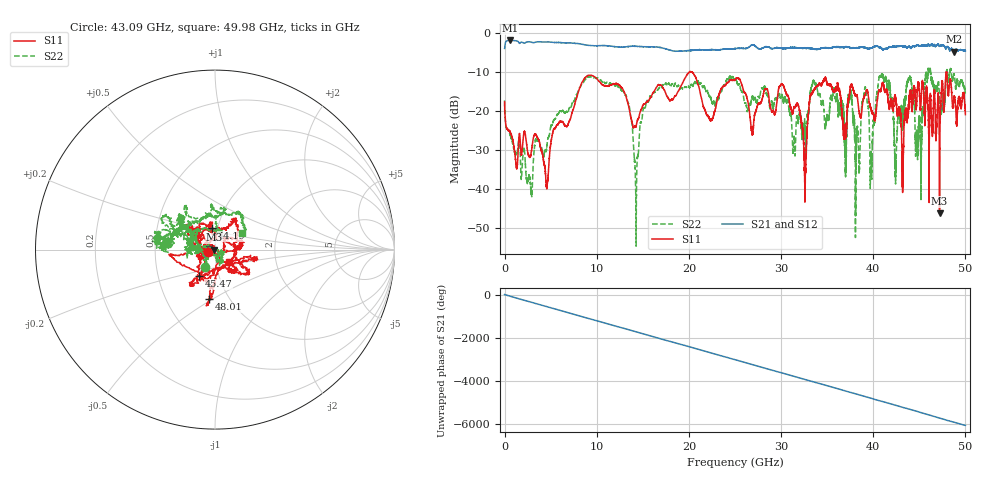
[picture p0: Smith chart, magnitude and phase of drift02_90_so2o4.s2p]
!Created with skrf (http://scikit-rf.org).
# Hz S RI R 50.0
!freq ReS11 ImS11 ReS21 ImS21 ReS12 ImS12 ReS22 ImS22
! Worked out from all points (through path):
!   10001 points, 300 kHz to 50 GHz, reference 50 ohm
!   highest |S21| = -1.99 dB at 565.3 MHz (marker M1); lowest = -4.8 dB at 48.77 GHz (marker M2)
!   group delay of S21, straight-line fit = 337 ps
!   lowest |S11| = -46.2 dB at 47.2 GHz (marker M3), VSWR 1.01, Z = 49.5 - j0.0244 ohm
!   |S11| at or under -10 dB: start of sweep to 20.07 GHz; 20.24 GHz to 47.95 GHz (27.71 GHz wide, 81.3 % of centre); 47.96 GHz to end of sweep (the widest 3 of 8)
!   |S22| runs from -54.6 to -9.1 dB; largest |S21 - S12| = 0.033
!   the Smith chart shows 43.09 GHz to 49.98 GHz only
!   S11 on the Smith chart (normalised r, x): 43.09 GHz: 0.93, -0.03; 44.19 GHz: 0.94, +0.23; 45.47 GHz: 0.81, -0.24; 48.01 GHz: 0.80, -0.48; 49.98 GHz: 1.15, -0.15
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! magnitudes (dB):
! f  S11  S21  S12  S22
! 300 kHz  -17.7  -4.0  -4.0  -17.3
! 565.3 MHz  -25.3  -2.0  -2.0  -25.9
! 4.565 GHz  -39.7  -2.4  -2.4  -29.5
! 8.335 GHz  -13.0  -2.9  -2.9  -13.2
! 13.01 GHz  -15.3  -3.6  -3.6  -15.8
! 14.28 GHz  -23.8  -3.5  -3.5  -48.3
! 16.67 GHz  -13.3  -3.7  -3.7  -14.5
! 25 GHz  -12.1  -4.1  -4.1  -12.1
! 26.86 GHz  -25.8  -3.1  -3.1  -16.4
! 30.19 GHz  -13.3  -4.1  -4.1  -16.8
! 32.58 GHz  -37.9  -4.0  -4.0  -23.8
! 33.34 GHz  -15.6  -4.0  -4.1  -13.5
! 38.29 GHz  -16.8  -3.9  -3.9  -23.9
! 41.67 GHz  -18.2  -3.8  -3.9  -12.5
! 43.09 GHz  -27.7  -3.4  -3.4  -19.2
! 44.19 GHz  -18.3  -3.7  -3.7  -13.7
! 45.47 GHz  -15.3  -3.4  -3.3  -20.6
! 47.2 GHz  -46.2  -3.4  -3.4  -16.1
! 48.01 GHz  -11.1  -3.5  -3.5  -9.4
! 48.77 GHz  -16.9  -4.8  -4.8  -10.7
! 49.98 GHz  -19.9  -4.6  -4.5  -15.0
! 50 GHz  -20.9  -4.6  -4.5  -15.5
